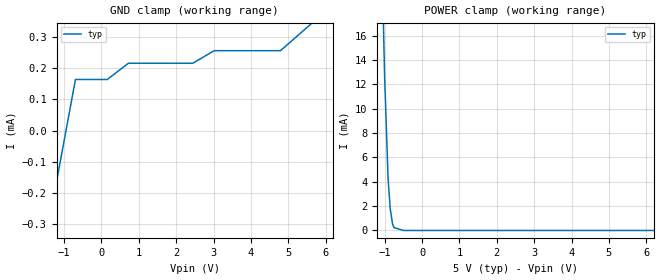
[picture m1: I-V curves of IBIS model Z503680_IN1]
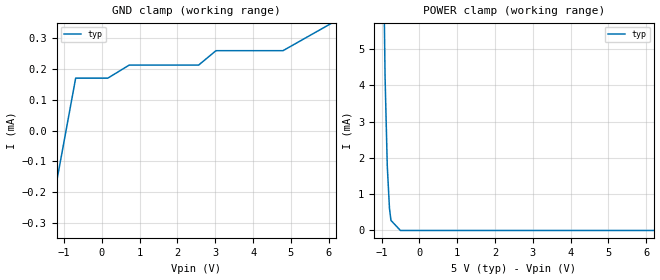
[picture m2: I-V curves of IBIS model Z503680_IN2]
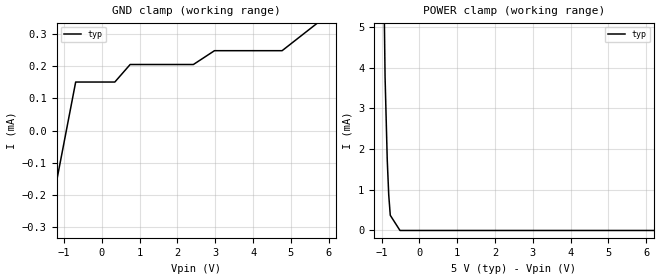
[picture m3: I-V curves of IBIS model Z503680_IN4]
| YOU ARE ONLY AUTHORIZED TO USE THIS SOFTWARE
| ACCORDING TO LICENSOR'S LICENSE RESTRICTIONS.
[IBIS Ver] 3.1
[File Name] mc14566bl.ibs
[File Rev] 2.0
[Source] Measured and created by ICX Technology
[Date] Friday 7/14/00 9:07:57 AM
[Copyright]
| (C) COPYRIGHT 1993-2000
| MENTOR GRAPHICS CORPORATION
| ICX STANDARD LIBRARY, ICX PROJECT MODELING,
| ICX CUSTOM MODELING, ICX VENDOR MODEL
| ALL RIGHTS RESERVED.
| THE FOLLOWING ARE TRADEMARKS OR SERVICE MARKS OF
| MENTOR GRAPHICS CORPORATION:ICX (R), ICX STANDARD
| LIBRARY(R), ICX PROJECT MODELING(R), ICX CUSTOM
| MODELING(R), qualityIBIS(TM), MODELVIEWER(TM),
| AND MODELEDITOR(TM)
| ALL COPIES OF SOFTWARE, INCLUDING BUT NOT LIMITED TO
| ANY MODIFICATIONS, ENHANCEMENTS OR DERIVATIVE WORKS,
| MUST CONTAIN ALL MENTOR GRAPHICS CORPORATION'S
| NOTICES AND LEGENDS, INCLUDING THOSE EMBEDDED IN
| SOFTWARE AND THOSE AFFIXED TO SOFTWARE MEDIUM
| AND CONTAINER, AS RECEIVED FROM MENTOR GRAPHICS
| CORPORATION.
|  ZAP Model Builder 2.7
[Component] MC14566BL
[Manufacturer] OnSemiconductor
[Package]
| variable   typ   min   max
R_pkg  .212ohms NA NA
L_pkg  4.758nH NA NA
C_pkg  1.944pF NA NA
[Pin] signal_name  model_name  R_pin  L_pin C_pin
1 _CA Z503680_IN1 .224 7.258n 2.683p
2 RST Z503680_IN2 .216 5.258n 2.19p
3 Q0A Z503680_OUT3 .208 3.758n 1.697p
4 Q1A Z503680_OUT3 .2 2.758n 1.204p
5 Q2A Z503680_OUT3 .2 2.758n 1.204p
6 Q3A Z503680_OUT3 .208 3.758n 1.697p
7 _B Z503680_IN4 .216 5.258n 2.19p
8 VSS POWER .224 7.258n 2.683p
9 A Z503680_IN4 .224 7.258n 2.683p
10 QM Z503680_OUT5 .216 5.258n 2.19p
11 5/6_CRTL Z503680_IN6 .208 3.758n 1.697p
12 Q0B Z503680_OUT3 .2 2.758n 1.204p
13 Q1B Z503680_OUT3 .2 2.758n 1.204p
14 Q2B Z503680_OUT3 .208 3.758n 1.697p
15 _CB Z503680_IN1 .216 5.258n 2.19p
16 VDD POWER .224 7.258n 2.683p
| Models and submodels in the file (6): Z503680_IN1 (Input), Z503680_IN2 (Input), Z503680_IN4 (Input), Z503680_IN6 (Input), Z503680_OUT3 (Output), Z503680_OUT5 (Output)
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| (C) COPYRIGHT 1993-2000
| MENTOR GRAPHICS CORPORATION
| ICX STANDARD LIBRARY, ICX PROJECT MODELING,
| ICX CUSTOM MODELING, ICX VENDOR MODEL
| ALL RIGHTS RESERVED.
| THE FOLLOWING ARE TRADEMARKS OR SERVICE MARKS OF
| MENTOR GRAPHICS CORPORATION:ICX (R), ICX STANDARD
| LIBRARY(R), ICX PROJECT MODELING(R), ICX CUSTOM
| MODELING(R), qualityIBIS(TM), MODELVIEWER(TM),
| AND MODELEDITOR(TM)
| ALL COPIES OF SOFTWARE, INCLUDING BUT NOT LIMITED TO
| ANY MODIFICATIONS, ENHANCEMENTS OR DERIVATIVE WORKS,
| MUST CONTAIN ALL MENTOR GRAPHICS CORPORATION'S
| NOTICES AND LEGENDS, INCLUDING THOSE EMBEDDED IN
| SOFTWARE AND THOSE AFFIXED TO SOFTWARE MEDIUM
| AND CONTAINER, AS RECEIVED FROM MENTOR GRAPHICS
| CORPORATION.
| Model Application Version 1.89 2/18/99.
[Model] Z503680_IN1
Model_type Input
Vinl = 1.500V
Vinh = 3.500V
C_comp 4.000pF NA NA
| variable typ   min   max
[Voltage Range] 5.000V NA NA
[GND Clamp Reference] 0.000V NA NA
[POWER Clamp Reference] 5.000V NA NA
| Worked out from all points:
|   POWER clamp passes 1 mA (typ) near -0.81 V on its own axis
[GND Clamp]
-5V       -2.621mA   NA         NA
-694mV    163.3uA    NA         NA
156.5mV   163.3uA    NA         NA
723.1mV   215.2uA    NA         NA
2.444V    215.2uA    NA         NA
3.018V    255.4uA    NA         NA
4.791V    255.4uA    NA         NA
10V       800.8uA    NA         NA
[POWER Clamp]
-5V       960.3mA    NA         NA
-1.17V    40.66mA    NA         NA
-1.035V   17.34mA    NA         NA
-1V       12.64mA    NA         NA
-908mV    4.304mA    NA         NA
-850mV    1.779mA    NA         NA
-791mV    580.8uA    NA         NA
-751mV    243uA      NA         NA
-500.7mV  0A         NA         NA
10V       0A         NA         NA
| (C) COPYRIGHT 1993-2000
| MENTOR GRAPHICS CORPORATION
| ICX STANDARD LIBRARY, ICX PROJECT MODELING,
| ICX CUSTOM MODELING, ICX VENDOR MODEL
| ALL RIGHTS RESERVED.
| THE FOLLOWING ARE TRADEMARKS OR SERVICE MARKS OF
| MENTOR GRAPHICS CORPORATION:ICX (R), ICX STANDARD
| LIBRARY(R), ICX PROJECT MODELING(R), ICX CUSTOM
| MODELING(R), qualityIBIS(TM), MODELVIEWER(TM),
| AND MODELEDITOR(TM)
| ALL COPIES OF SOFTWARE, INCLUDING BUT NOT LIMITED TO
| ANY MODIFICATIONS, ENHANCEMENTS OR DERIVATIVE WORKS,
| MUST CONTAIN ALL MENTOR GRAPHICS CORPORATION'S
| NOTICES AND LEGENDS, INCLUDING THOSE EMBEDDED IN
| SOFTWARE AND THOSE AFFIXED TO SOFTWARE MEDIUM
| AND CONTAINER, AS RECEIVED FROM MENTOR GRAPHICS
| CORPORATION.
| Model Application Version 1.89 2/18/99.
[Model] Z503680_IN2
Model_type Input
Vinl = 1.500V
Vinh = 3.500V
C_comp 4.000pF NA NA
| variable typ   min   max
[Voltage Range] 5.000V NA NA
[GND Clamp Reference] 0.000V NA NA
[POWER Clamp Reference] 5.000V NA NA
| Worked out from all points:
|   POWER clamp passes 1 mA (typ) near -0.81 V on its own axis
[GND Clamp]
-5V       -2.705mA   NA         NA
-693.5mV  169.9uA    NA         NA
156.5mV   169.9uA    NA         NA
723.2mV   212.2uA    NA         NA
2.559V    212.2uA    NA         NA
3.018V    258.9uA    NA         NA
4.791V    258.9uA    NA         NA
10V       619.7uA    NA         NA
[POWER Clamp]
-5V       816.3mA    NA         NA
-1.191V   39.49mA    NA         NA
-1.054V   18.14mA    NA         NA
-1.001V   11.83mA    NA         NA
-908mV    4.238mA    NA         NA
-850mV    1.792mA    NA         NA
-792mV    616.8uA    NA         NA
-752mV    277.8uA    NA         NA
-501.3mV  0A         NA         NA
10V       0A         NA         NA
| (C) COPYRIGHT 1993-2000
| MENTOR GRAPHICS CORPORATION
| ICX STANDARD LIBRARY, ICX PROJECT MODELING,
| ICX CUSTOM MODELING, ICX VENDOR MODEL
| ALL RIGHTS RESERVED.
| THE FOLLOWING ARE TRADEMARKS OR SERVICE MARKS OF
| MENTOR GRAPHICS CORPORATION:ICX (R), ICX STANDARD
| LIBRARY(R), ICX PROJECT MODELING(R), ICX CUSTOM
| MODELING(R), qualityIBIS(TM), MODELVIEWER(TM),
| AND MODELEDITOR(TM)
| ALL COPIES OF SOFTWARE, INCLUDING BUT NOT LIMITED TO
| ANY MODIFICATIONS, ENHANCEMENTS OR DERIVATIVE WORKS,
| MUST CONTAIN ALL MENTOR GRAPHICS CORPORATION'S
| NOTICES AND LEGENDS, INCLUDING THOSE EMBEDDED IN
| SOFTWARE AND THOSE AFFIXED TO SOFTWARE MEDIUM
| AND CONTAINER, AS RECEIVED FROM MENTOR GRAPHICS
| CORPORATION.
| Model Application Version 1.89 2/18/99.
[Model] Z503680_IN4
Model_type Input
Vinl = 1.500V
Vinh = 3.500V
C_comp 4.000pF NA NA
| variable typ   min   max
[Voltage Range] 5.000V NA NA
[GND Clamp Reference] 0.000V NA NA
[POWER Clamp Reference] 5.000V NA NA
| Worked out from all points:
|   POWER clamp passes 1 mA (typ) near -0.82 V on its own axis
[GND Clamp]
-5V       -2.49mA    NA         NA
-693.5mV  151.3uA    NA         NA
342.2mV   151.3uA    NA         NA
747.7mV   206uA      NA         NA
2.421V    206uA      NA         NA
2.979V    249.1uA    NA         NA
4.768V    249.1uA    NA         NA
10V       732.3uA    NA         NA
[POWER Clamp]
-5V       571.8mA    NA         NA
-1.334V   49.84mA    NA         NA
-1.3V     45.01mA    NA         NA
-1.182V   29.23mA    NA         NA
-1.038V   13.38mA    NA         NA
-908mV    3.774mA    NA         NA
-850mV    1.725mA    NA         NA
-811mV    872.6uA    NA         NA
-770mV    372.5uA    NA         NA
-513.3mV  0A         NA         NA
10V       0A         NA         NA
